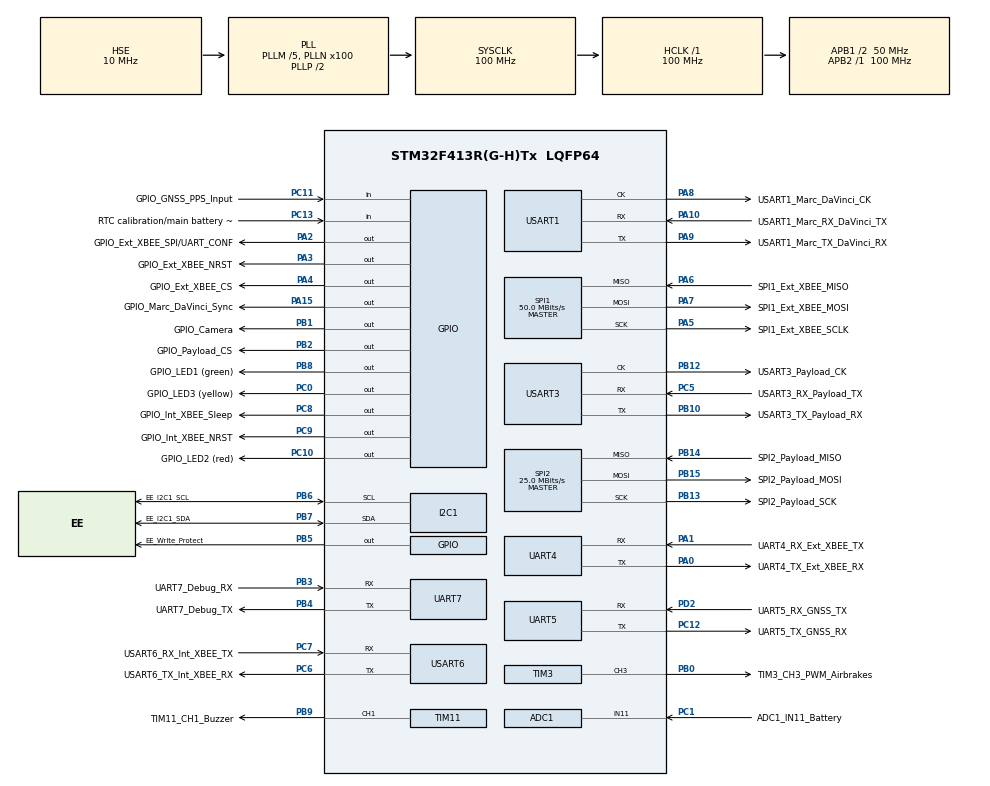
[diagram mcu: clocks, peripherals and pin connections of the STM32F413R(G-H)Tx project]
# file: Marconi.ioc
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ADC1.Channel-0\#ChannelRegularConversion=ADC_CHANNEL_11
ADC1.NbrOfConversionFlag=1
ADC1.Rank-0\#ChannelRegularConversion=1
ADC1.SamplingTime-0\#ChannelRegularConversion=ADC_SAMPLETIME_3CYCLES
ADC1.master=1
Dma.Request0=UART4_RX
Dma.Request1=USART6_RX
Dma.UART4_RX.0.Direction=DMA_PERIPH_TO_MEMORY
Dma.UART4_RX.0.FIFOMode=DMA_FIFOMODE_DISABLE
Dma.UART4_RX.0.Instance=DMA1_Stream2
Dma.UART4_RX.0.MemDataAlignment=DMA_MDATAALIGN_BYTE
Dma.UART4_RX.0.MemInc=DMA_MINC_ENABLE
Dma.UART4_RX.0.Mode=DMA_NORMAL
Dma.UART4_RX.0.PeriphDataAlignment=DMA_PDATAALIGN_BYTE
Dma.UART4_RX.0.PeriphInc=DMA_PINC_DISABLE
Dma.UART4_RX.0.Priority=DMA_PRIORITY_LOW
Dma.USART6_RX.1.Direction=DMA_PERIPH_TO_MEMORY
Dma.USART6_RX.1.FIFOMode=DMA_FIFOMODE_DISABLE
Dma.USART6_RX.1.Instance=DMA2_Stream1
Dma.USART6_RX.1.MemDataAlignment=DMA_MDATAALIGN_BYTE
Dma.USART6_RX.1.MemInc=DMA_MINC_ENABLE
Dma.USART6_RX.1.Mode=DMA_NORMAL
Dma.USART6_RX.1.PeriphDataAlignment=DMA_PDATAALIGN_BYTE
Dma.USART6_RX.1.PeriphInc=DMA_PINC_DISABLE
Dma.USART6_RX.1.Priority=DMA_PRIORITY_LOW
FREERTOS.Tasks01=External_Xbee_T,24,128,External_Xbee_TX,Default,NULL,Dynamic,NULL,NULL;Internal_Xbee_T,24,128,Internal_Xbee_TX,Default,NULL,Dynamic,NULL,NULL
FREERTOS.configUSE_NEWLIB_REENTRANT=1
Mcu.Family=STM32F4
Mcu.Name=STM32F413R(G-H)Tx
Mcu.Package=LQFP64
NVIC.DMA1_Stream2_IRQn=true\:5\:0\:false\:false\:true\:true\:false\:true\:true
NVIC.DMA2_Stream1_IRQn=true\:5\:0\:false\:false\:true\:true\:false\:true\:true
NVIC.PriorityGroup=NVIC_PRIORITYGROUP_4
NVIC.TIM1_UP_TIM10_IRQn=true\:15\:0\:false\:false\:true\:false\:false\:true\:true
NVIC.TimeBase=TIM1_UP_TIM10_IRQn
NVIC.TimeBaseIP=TIM1
PA0.GPIO_Label=UART4_TX_Ext_XBEE_RX
PA0.Mode=Asynchronous
PA0.Signal=UART4_TX
PA1.GPIO_Label=UART4_RX_Ext_XBEE_TX
PA1.Mode=Asynchronous
PA1.Signal=UART4_RX
PA10.GPIO_Label=USART1_Marc_RX_DaVinci_TX
PA10.Mode=Synchronous
PA10.Signal=USART1_RX
PA13.Mode=Serial_Wire
PA13.Signal=SYS_JTMS-SWDIO
PA14.Mode=Serial_Wire
PA14.Signal=SYS_JTCK-SWCLK
PA15.GPIO_Label=GPIO_Marc_DaVinci_Sync
PA15.Signal=GPIO_Output
PA2.GPIO_Label=GPIO_Ext_XBEE_SPI/UART_CONF
PA2.Signal=GPIO_Output
PA3.GPIO_Label=GPIO_Ext_XBEE_NRST
PA3.Signal=GPIO_Output
PA4.GPIO_Label=GPIO_Ext_XBEE_CS
PA4.Signal=GPIO_Output
PA5.GPIO_Label=SPI1_Ext_XBEE_SCLK
PA5.Mode=Full_Duplex_Master
PA5.Signal=SPI1_SCK
PA6.GPIO_Label=SPI1_Ext_XBEE_MISO
PA6.Mode=Full_Duplex_Master
PA6.Signal=SPI1_MISO
PA7.GPIO_Label=SPI1_Ext_XBEE_MOSI
PA7.Mode=Full_Duplex_Master
PA7.Signal=SPI1_MOSI
PA8.GPIO_Label=USART1_Marc_DaVinci_CK
PA8.Mode=Synchronous
PA8.Signal=USART1_CK
PA9.GPIO_Label=USART1_Marc_TX_DaVinci_RX
PA9.Mode=Synchronous
PA9.Signal=USART1_TX
PB0.GPIO_Label=TIM3_CH3_PWM_Airbrakes
PB0.Signal=S_TIM3_CH3
PB1.GPIO_Label=GPIO_Camera
PB1.Signal=GPIO_Output
PB10.GPIO_Label=USART3_TX_Payload_RX
PB10.Mode=Synchronous
PB10.Signal=USART3_TX
PB12.GPIO_Label=USART3_Payload_CK
PB12.Mode=Synchronous
PB12.Signal=USART3_CK
PB13.GPIO_Label=SPI2_Payload_SCK
PB13.Mode=Full_Duplex_Master
PB13.Signal=SPI2_SCK
PB14.GPIO_Label=SPI2_Payload_MISO
PB14.Mode=Full_Duplex_Master
PB14.Signal=SPI2_MISO
PB15.GPIO_Label=SPI2_Payload_MOSI
PB15.Mode=Full_Duplex_Master
PB15.Signal=SPI2_MOSI
PB2.GPIO_Label=GPIO_Payload_CS
PB2.Signal=GPIO_Output
PB3.GPIO_Label=UART7_Debug_RX
PB3.Mode=Asynchronous
PB3.Signal=UART7_RX
PB4.GPIO_Label=UART7_Debug_TX
PB4.Mode=Asynchronous
PB4.Signal=UART7_TX
PB5.GPIO_Label=EE_Write_Protect
PB5.Signal=GPIO_Output
PB6.GPIO_Label=EE_I2C1_SCL
PB6.Mode=I2C
PB6.Signal=I2C1_SCL
PB7.GPIO_Label=EE_I2C1_SDA
PB7.Mode=I2C
PB7.Signal=I2C1_SDA
PB8.GPIO_Label=GPIO_LED1 (green)
PB8.Signal=GPIO_Output
PB9.GPIO_Label=TIM11_CH1_Buzzer
PB9.Signal=S_TIM11_CH1
PC0.GPIO_Label=GPIO_LED3 (yellow)
PC0.Signal=GPIO_Output
PC1.GPIO_Label=ADC1_IN11_Battery
PC1.Signal=ADCx_IN11
PC10.GPIO_Label=GPIO_LED2 (red)
PC10.Signal=GPIO_Output
PC11.GPIO_Label=GPIO_GNSS_PPS_Input
PC11.Signal=GPIO_Input
PC12.GPIO_Label=UART5_TX_GNSS_RX
PC12.Mode=Asynchronous
PC12.Signal=UART5_TX
PC13.GPIO_Label=RTC calibration/main battery removal detect
PC13.Signal=GPIO_Input
PC14-OSC32_IN.Mode=LSE-External-Oscillator
PC14-OSC32_IN.Signal=RCC_OSC32_IN
PC15-OSC32_OUT.Mode=LSE-External-Oscillator
PC15-OSC32_OUT.Signal=RCC_OSC32_OUT
PC5.GPIO_Label=USART3_RX_Payload_TX
PC5.Mode=Synchronous
PC5.Signal=USART3_RX
PC6.GPIO_Label=USART6_TX_Int_XBEE_RX
PC6.Mode=Asynchronous
PC6.Signal=USART6_TX
PC7.GPIO_Label=USART6_RX_Int_XBEE_TX
PC7.Mode=Asynchronous
PC7.Signal=USART6_RX
PC8.GPIO_Label=GPIO_Int_XBEE_Sleep
PC8.Signal=GPIO_Output
PC9.GPIO_Label=GPIO_Int_XBEE_NRST
PC9.Signal=GPIO_Output
PD2.GPIO_Label=UART5_RX_GNSS_TX
PD2.Mode=Asynchronous
PD2.Signal=UART5_RX
PH0\ -\ OSC_IN.Mode=HSE-External-Oscillator
PH0\ -\ OSC_IN.Signal=RCC_OSC_IN
PH1\ -\ OSC_OUT.Mode=HSE-External-Oscillator
PH1\ -\ OSC_OUT.Signal=RCC_OSC_OUT
ProjectManager.HeapSize=0x200
ProjectManager.StackSize=0x400
ProjectManager.TargetToolchain=STM32CubeIDE
RCC.AHBFreq_Value=100000000
RCC.APB1CLKDivider=RCC_HCLK_DIV2
RCC.APB1Freq_Value=50000000
RCC.APB1TimFreq_Value=100000000
RCC.APB2Freq_Value=100000000
RCC.APB2TimFreq_Value=100000000
RCC.CortexFreq_Value=100000000
RCC.HCLKFreq_Value=100000000
RCC.HSE_VALUE=10000000
RCC.PLLM=5
RCC.PLLN=100
RCC.PLLSourceVirtual=RCC_PLLSOURCE_HSE
RCC.SYSCLKFreq_VALUE=100000000
RCC.SYSCLKSource=RCC_SYSCLKSOURCE_PLLCLK
RCC.USBFreq_Value=100000000
RCC.VCOOutputFreq_Value=200000000
SH.ADCx_IN11.0=ADC1_IN11,IN11
SH.S_TIM11_CH1.0=TIM11_CH1,PWM Generation1 CH1
SH.S_TIM3_CH3.0=TIM3_CH3,PWM Generation3 CH3
SPI1.CalculateBaudRate=50.0 MBits/s
SPI1.Direction=SPI_DIRECTION_2LINES
SPI1.Mode=SPI_MODE_MASTER
SPI1.VirtualType=VM_MASTER
SPI2.CalculateBaudRate=25.0 MBits/s
SPI2.Direction=SPI_DIRECTION_2LINES
SPI2.Mode=SPI_MODE_MASTER
SPI2.VirtualType=VM_MASTER
TIM11.Channel=TIM_CHANNEL_1
TIM3.Channel-PWM\ Generation3\ CH3=TIM_CHANNEL_3
UART4.VirtualMode=Asynchronous
UART5.VirtualMode=Asynchronous
UART7.VirtualMode=Asynchronous
USART1.VirtualMode=VM_SYNC
USART3.VirtualMode=VM_SYNC
USART6.VirtualMode=VM_ASYNC
VP_FREERTOS_VS_CMSIS_V2.Mode=CMSIS_V2
VP_SYS_VS_tim1.Mode=TIM1
VP_TIM11_VS_ClockSourceINT.Mode=Enable_Timer
board=custom

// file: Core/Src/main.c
/* USER CODE BEGIN Header */
/**
  ******************************************************************************
  * @file           : main.c
  * @brief          : Main program body
  ******************************************************************************
  * @attention
  *
  * Copyright (c) 2024 STMicroelectronics.
  * All rights reserved.
  *
  * This software is licensed under terms that can be found in the LICENSE file
  * in the root directory of this software component.
  * If no LICENSE file comes with this software, it is provided AS-IS.
  *
  ******************************************************************************
  */
/* USER CODE END Header */
#include "main.h"
#include "cmsis_os.h"

ADC_HandleTypeDef hadc1;

I2C_HandleTypeDef hi2c1;

SPI_HandleTypeDef hspi1;
SPI_HandleTypeDef hspi2;

TIM_HandleTypeDef htim3;
TIM_HandleTypeDef htim11;

UART_HandleTypeDef huart4;
UART_HandleTypeDef huart5;
UART_HandleTypeDef huart7;
USART_HandleTypeDef husart1;
USART_HandleTypeDef husart3;
UART_HandleTypeDef huart6;
DMA_HandleTypeDef hdma_uart4_rx;
DMA_HandleTypeDef hdma_usart6_rx;

/* Definitions for External_Xbee_T */
osThreadId_t External_Xbee_THandle;
const osThreadAttr_t External_Xbee_T_attributes = {
  .name = "External_Xbee_T",
  .stack_size = 128 * 4,
  .priority = (osPriority_t) osPriorityNormal,
};
/* Definitions for Internal_Xbee_T */
osThreadId_t Internal_Xbee_THandle;
const osThreadAttr_t Internal_Xbee_T_attributes = {
  .name = "Internal_Xbee_T",
  .stack_size = 128 * 4,
  .priority = (osPriority_t) osPriorityNormal,
};
/* USER CODE BEGIN PV */
#define DMA_BUFFER_SIZE_EXT 2
#define DMA_BUFFER_SIZE_INT 4
uint8_t dmaBuffer[DMA_BUFFER_SIZE_EXT];
uint8_t dmaBuffer_2[DMA_BUFFER_SIZE_INT];
volatile uint16_t oldPos = 0;
uint8_t message[45];
volatile float airbrakes_deg = 0.0f;
servo_t servo = {0};
/* USER CODE END PV */

void SystemClock_Config(void);
static void MX_GPIO_Init(void);
static void MX_DMA_Init(void);
static void MX_SPI1_Init(void);
static void MX_SPI2_Init(void);
static void MX_UART4_Init(void);
static void MX_USART1_Init(void);
static void MX_USART6_UART_Init(void);
static void MX_ADC1_Init(void);
static void MX_I2C1_Init(void);
static void MX_TIM11_Init(void);
static void MX_UART5_Init(void);
static void MX_UART7_Init(void);
static void MX_USART3_Init(void);
static void MX_TIM3_Init(void);
void External_Xbee_TX(void *argument);
void Internal_Xbee_TX(void *argument);

/* USER CODE BEGIN 0 */
char ACK[2] = "C0";
void XBee_SetChannel(uint8_t channel) {
    // Example implementation to set the XBee channel
    uint8_t atCommand[] = { 'A', 'T', 'C', 'H', channel, '\r' };
    HAL_UART_Transmit(&huart4, atCommand, sizeof(atCommand), 5);
}

void processMessage(uint8_t command, uint8_t data) {
    switch ((char)command) {
        case 'F': // Change XBee channel
            if (data >= 0x0B && data <= 0x1A) { // Valid XBee channel range
                XBee_SetChannel(data);
            }
            break;
        case 'C': // Send ACK
            HAL_UART_Transmit(&huart4, (uint8_t *)ACK, 2, 5);
            break;
        default:
            // Handle unknown command
            break;
    }
}

void HAL_UART_RxCpltCallback(UART_HandleTypeDef *huart) {
    if (huart->Instance == UART4) { // Check if it's the correct UART instance
        // Extract the received command and data
        uint8_t command = dmaBuffer[0];
        uint8_t data = dmaBuffer[1];

        // Process the received message
        processMessage(command, data);

        // Restart DMA reception for the next message
        HAL_UART_Receive_DMA(&huart4, dmaBuffer, DMA_BUFFER_SIZE_EXT);
    }
    else if (huart->Instance == USART6){
    	float receivedValue;

    	// Decode the received float from the DMA buffer
    	memcpy(&receivedValue, dmaBuffer_2, sizeof(receivedValue));

    	// Update the servo position based on the received value
    	servo_moveto_deg(&servo,receivedValue);

    	// Restart DMA reception for the next float
    	HAL_UART_Receive_DMA(&huart6, dmaBuffer_2, DMA_BUFFER_SIZE_INT);
    }
}

/* USER CODE END 0 */

int main(void)
{

  /* MCU Configuration--------------------------------------------------------*/

  /* Reset of all peripherals, Initializes the Flash interface and the Systick. */
  HAL_Init();

  /* Configure the system clock */
  SystemClock_Config();

  /* Initialize all configured peripherals */
  MX_GPIO_Init();
  MX_DMA_Init();
  MX_SPI1_Init();
  MX_SPI2_Init();
  MX_UART4_Init();
  MX_USART1_Init();
  MX_USART6_UART_Init();
  MX_ADC1_Init();
  MX_I2C1_Init();
  MX_TIM11_Init();
  MX_UART5_Init();
  MX_UART7_Init();
  MX_USART3_Init();
  MX_TIM3_Init();
  /* USER CODE BEGIN 2 */
  HAL_UART_Receive_DMA(&huart4, dmaBuffer, DMA_BUFFER_SIZE_EXT);
  HAL_UART_Receive_DMA(&huart6, dmaBuffer_2, DMA_BUFFER_SIZE_INT);
  servo_init(&servo);

  /* USER CODE END 2 */

  /* Init scheduler */
  osKernelInitialize();

  /* Create the thread(s) */
  /* creation of External_Xbee_T */
  External_Xbee_THandle = osThreadNew(External_Xbee_TX, NULL, &External_Xbee_T_attributes);

  /* creation of Internal_Xbee_T */
  Internal_Xbee_THandle = osThreadNew(Internal_Xbee_TX, NULL, &Internal_Xbee_T_attributes);

  /* Start scheduler */
  osKernelStart();

  /* We should never get here as control is now taken by the scheduler */

  /* Infinite loop */
  while (1)
  {

  }
}

void SystemClock_Config(void)
{
  RCC_OscInitTypeDef RCC_OscInitStruct = {0};
  RCC_ClkInitTypeDef RCC_ClkInitStruct = {0};

  /** Configure the main internal regulator output voltage
  */
  __HAL_RCC_PWR_CLK_ENABLE();
  __HAL_PWR_VOLTAGESCALING_CONFIG(PWR_REGULATOR_VOLTAGE_SCALE1);

  /** Initializes the RCC Oscillators according to the specified parameters
  * in the RCC_OscInitTypeDef structure.
  */
  RCC_OscInitStruct.OscillatorType = RCC_OSCILLATORTYPE_HSE;
  RCC_OscInitStruct.HSEState = RCC_HSE_ON;
  RCC_OscInitStruct.PLL.PLLState = RCC_PLL_ON;
  RCC_OscInitStruct.PLL.PLLSource = RCC_PLLSOURCE_HSE;
  RCC_OscInitStruct.PLL.PLLM = 5;
  RCC_OscInitStruct.PLL.PLLN = 100;
  RCC_OscInitStruct.PLL.PLLP = RCC_PLLP_DIV2;
  RCC_OscInitStruct.PLL.PLLQ = 2;
  RCC_OscInitStruct.PLL.PLLR = 2;
  if (HAL_RCC_OscConfig(&RCC_OscInitStruct) != HAL_OK)
  {
    Error_Handler();
  }

  /** Initializes the CPU, AHB and APB buses clocks
  */
  RCC_ClkInitStruct.ClockType = RCC_CLOCKTYPE_HCLK|RCC_CLOCKTYPE_SYSCLK
                              |RCC_CLOCKTYPE_PCLK1|RCC_CLOCKTYPE_PCLK2;
  RCC_ClkInitStruct.SYSCLKSource = RCC_SYSCLKSOURCE_PLLCLK;
  RCC_ClkInitStruct.AHBCLKDivider = RCC_SYSCLK_DIV1;
  RCC_ClkInitStruct.APB1CLKDivider = RCC_HCLK_DIV2;
  RCC_ClkInitStruct.APB2CLKDivider = RCC_HCLK_DIV1;

  if (HAL_RCC_ClockConfig(&RCC_ClkInitStruct, FLASH_LATENCY_3) != HAL_OK)
  {
    Error_Handler();
  }
}

static void MX_ADC1_Init(void)
{

  ADC_ChannelConfTypeDef sConfig = {0};

  /** Configure the global features of the ADC (Clock, Resolution, Data Alignment and number of conversion)
  */
  hadc1.Instance = ADC1;
  hadc1.Init.ClockPrescaler = ADC_CLOCK_SYNC_PCLK_DIV4;
  hadc1.Init.Resolution = ADC_RESOLUTION_12B;
  hadc1.Init.ScanConvMode = DISABLE;
  hadc1.Init.ContinuousConvMode = DISABLE;
  hadc1.Init.DiscontinuousConvMode = DISABLE;
  hadc1.Init.ExternalTrigConvEdge = ADC_EXTERNALTRIGCONVEDGE_NONE;
  hadc1.Init.ExternalTrigConv = ADC_SOFTWARE_START;
  hadc1.Init.DataAlign = ADC_DATAALIGN_RIGHT;
  hadc1.Init.NbrOfConversion = 1;
  hadc1.Init.DMAContinuousRequests = DISABLE;
  hadc1.Init.EOCSelection = ADC_EOC_SINGLE_CONV;
  if (HAL_ADC_Init(&hadc1) != HAL_OK)
  {
    Error_Handler();
  }

  /** Configure for the selected ADC regular channel its corresponding rank in the sequencer and its sample time.
  */
  sConfig.Channel = ADC_CHANNEL_11;
  sConfig.Rank = 1;
  sConfig.SamplingTime = ADC_SAMPLETIME_3CYCLES;
  if (HAL_ADC_ConfigChannel(&hadc1, &sConfig) != HAL_OK)
  {
    Error_Handler();
  }

}

static void MX_I2C1_Init(void)
{

  hi2c1.Instance = I2C1;
  hi2c1.Init.ClockSpeed = 100000;
  hi2c1.Init.DutyCycle = I2C_DUTYCYCLE_2;
  hi2c1.Init.OwnAddress1 = 0;
  hi2c1.Init.AddressingMode = I2C_ADDRESSINGMODE_7BIT;
  hi2c1.Init.DualAddressMode = I2C_DUALADDRESS_DISABLE;
  hi2c1.Init.OwnAddress2 = 0;
  hi2c1.Init.GeneralCallMode = I2C_GENERALCALL_DISABLE;
  hi2c1.Init.NoStretchMode = I2C_NOSTRETCH_DISABLE;
  if (HAL_I2C_Init(&hi2c1) != HAL_OK)
  {
    Error_Handler();
  }

}

static void MX_SPI1_Init(void)
{

  /* SPI1 parameter configuration*/
  hspi1.Instance = SPI1;
  hspi1.Init.Mode = SPI_MODE_MASTER;
  hspi1.Init.Direction = SPI_DIRECTION_2LINES;
  hspi1.Init.DataSize = SPI_DATASIZE_8BIT;
  hspi1.Init.CLKPolarity = SPI_POLARITY_LOW;
  hspi1.Init.CLKPhase = SPI_PHASE_1EDGE;
  hspi1.Init.NSS = SPI_NSS_SOFT;
  hspi1.Init.BaudRatePrescaler = SPI_BAUDRATEPRESCALER_2;
  hspi1.Init.FirstBit = SPI_FIRSTBIT_MSB;
  hspi1.Init.TIMode = SPI_TIMODE_DISABLE;
  hspi1.Init.CRCCalculation = SPI_CRCCALCULATION_DISABLE;
  hspi1.Init.CRCPolynomial = 10;
  if (HAL_SPI_Init(&hspi1) != HAL_OK)
  {
    Error_Handler();
  }

}

static void MX_SPI2_Init(void)
{

  /* SPI2 parameter configuration*/
  hspi2.Instance = SPI2;
  hspi2.Init.Mode = SPI_MODE_MASTER;
  hspi2.Init.Direction = SPI_DIRECTION_2LINES;
  hspi2.Init.DataSize = SPI_DATASIZE_8BIT;
  hspi2.Init.CLKPolarity = SPI_POLARITY_LOW;
  hspi2.Init.CLKPhase = SPI_PHASE_1EDGE;
  hspi2.Init.NSS = SPI_NSS_SOFT;
  hspi2.Init.BaudRatePrescaler = SPI_BAUDRATEPRESCALER_2;
  hspi2.Init.FirstBit = SPI_FIRSTBIT_MSB;
  hspi2.Init.TIMode = SPI_TIMODE_DISABLE;
  hspi2.Init.CRCCalculation = SPI_CRCCALCULATION_DISABLE;
  hspi2.Init.CRCPolynomial = 10;
  if (HAL_SPI_Init(&hspi2) != HAL_OK)
  {
    Error_Handler();
  }

}

static void MX_TIM3_Init(void)
{

  TIM_MasterConfigTypeDef sMasterConfig = {0};
  TIM_OC_InitTypeDef sConfigOC = {0};

  htim3.Instance = TIM3;
  htim3.Init.Prescaler = 0;
  htim3.Init.CounterMode = TIM_COUNTERMODE_UP;
  htim3.Init.Period = 65535;
  htim3.Init.ClockDivision = TIM_CLOCKDIVISION_DIV1;
  htim3.Init.AutoReloadPreload = TIM_AUTORELOAD_PRELOAD_DISABLE;
  if (HAL_TIM_PWM_Init(&htim3) != HAL_OK)
  {
    Error_Handler();
  }
  sMasterConfig.MasterOutputTrigger = TIM_TRGO_RESET;
  sMasterConfig.MasterSlaveMode = TIM_MASTERSLAVEMODE_DISABLE;
  if (HAL_TIMEx_MasterConfigSynchronization(&htim3, &sMasterConfig) != HAL_OK)
  {
    Error_Handler();
  }
  sConfigOC.OCMode = TIM_OCMODE_PWM1;
  sConfigOC.Pulse = 0;
  sConfigOC.OCPolarity = TIM_OCPOLARITY_HIGH;
  sConfigOC.OCFastMode = TIM_OCFAST_DISABLE;
  if (HAL_TIM_PWM_ConfigChannel(&htim3, &sConfigOC, TIM_CHANNEL_3) != HAL_OK)
  {
    Error_Handler();
  }
  HAL_TIM_MspPostInit(&htim3);

}

static void MX_TIM11_Init(void)
{

  TIM_OC_InitTypeDef sConfigOC = {0};

  htim11.Instance = TIM11;
  htim11.Init.Prescaler = 0;
  htim11.Init.CounterMode = TIM_COUNTERMODE_UP;
  htim11.Init.Period = 65535;
  htim11.Init.ClockDivision = TIM_CLOCKDIVISION_DIV1;
  htim11.Init.AutoReloadPreload = TIM_AUTORELOAD_PRELOAD_DISABLE;
  if (HAL_TIM_Base_Init(&htim11) != HAL_OK)
  {
    Error_Handler();
  }
  if (HAL_TIM_PWM_Init(&htim11) != HAL_OK)
  {
    Error_Handler();
  }
  sConfigOC.OCMode = TIM_OCMODE_PWM1;
  sConfigOC.Pulse = 0;
  sConfigOC.OCPolarity = TIM_OCPOLARITY_HIGH;
  sConfigOC.OCFastMode = TIM_OCFAST_DISABLE;
  if (HAL_TIM_PWM_ConfigChannel(&htim11, &sConfigOC, TIM_CHANNEL_1) != HAL_OK)
  {
    Error_Handler();
  }
  HAL_TIM_MspPostInit(&htim11);

}

static void MX_UART4_Init(void)
{

  huart4.Instance = UART4;
  huart4.Init.BaudRate = 115200;
  huart4.Init.WordLength = UART_WORDLENGTH_8B;
  huart4.Init.StopBits = UART_STOPBITS_1;
  huart4.Init.Parity = UART_PARITY_NONE;
  huart4.Init.Mode = UART_MODE_TX_RX;
  huart4.Init.HwFlowCtl = UART_HWCONTROL_NONE;
  huart4.Init.OverSampling = UART_OVERSAMPLING_16;
  if (HAL_UART_Init(&huart4) != HAL_OK)
  {
    Error_Handler();
  }

}

static void MX_UART5_Init(void)
{

  huart5.Instance = UART5;
  huart5.Init.BaudRate = 115200;
  huart5.Init.WordLength = UART_WORDLENGTH_8B;
  huart5.Init.StopBits = UART_STOPBITS_1;
  huart5.Init.Parity = UART_PARITY_NONE;
  huart5.Init.Mode = UART_MODE_TX_RX;
  huart5.Init.HwFlowCtl = UART_HWCONTROL_NONE;
  huart5.Init.OverSampling = UART_OVERSAMPLING_16;
  if (HAL_UART_Init(&huart5) != HAL_OK)
  {
    Error_Handler();
  }

}

static void MX_UART7_Init(void)
{

  huart7.Instance = UART7;
  huart7.Init.BaudRate = 115200;
  huart7.Init.WordLength = UART_WORDLENGTH_8B;
  huart7.Init.StopBits = UART_STOPBITS_1;
  huart7.Init.Parity = UART_PARITY_NONE;
  huart7.Init.Mode = UART_MODE_TX_RX;
  huart7.Init.HwFlowCtl = UART_HWCONTROL_NONE;
  huart7.Init.OverSampling = UART_OVERSAMPLING_16;
  if (HAL_UART_Init(&huart7) != HAL_OK)
  {
    Error_Handler();
  }

}

static void MX_USART1_Init(void)
{

  husart1.Instance = USART1;
  husart1.Init.BaudRate = 115200;
  husart1.Init.WordLength = USART_WORDLENGTH_8B;
  husart1.Init.StopBits = USART_STOPBITS_1;
  husart1.Init.Parity = USART_PARITY_NONE;
  husart1.Init.Mode = USART_MODE_TX_RX;
  husart1.Init.CLKPolarity = USART_POLARITY_LOW;
  husart1.Init.CLKPhase = USART_PHASE_1EDGE;
  husart1.Init.CLKLastBit = USART_LASTBIT_DISABLE;
  if (HAL_USART_Init(&husart1) != HAL_OK)
  {
    Error_Handler();
  }

}

static void MX_USART3_Init(void)
{

  husart3.Instance = USART3;
  husart3.Init.BaudRate = 115200;
  husart3.Init.WordLength = USART_WORDLENGTH_8B;
  husart3.Init.StopBits = USART_STOPBITS_1;
  husart3.Init.Parity = USART_PARITY_NONE;
  husart3.Init.Mode = USART_MODE_TX_RX;
  husart3.Init.CLKPolarity = USART_POLARITY_LOW;
  husart3.Init.CLKPhase = USART_PHASE_1EDGE;
  husart3.Init.CLKLastBit = USART_LASTBIT_DISABLE;
  if (HAL_USART_Init(&husart3) != HAL_OK)
  {
    Error_Handler();
  }

}

static void MX_USART6_UART_Init(void)
{

  huart6.Instance = USART6;
  huart6.Init.BaudRate = 115200;
  huart6.Init.WordLength = UART_WORDLENGTH_8B;
  huart6.Init.StopBits = UART_STOPBITS_1;
  huart6.Init.Parity = UART_PARITY_NONE;
  huart6.Init.Mode = UART_MODE_TX_RX;
  huart6.Init.HwFlowCtl = UART_HWCONTROL_NONE;
  huart6.Init.OverSampling = UART_OVERSAMPLING_16;
  if (HAL_UART_Init(&huart6) != HAL_OK)
  {
    Error_Handler();
  }

}

static void MX_DMA_Init(void)
{

  /* DMA controller clock enable */
  __HAL_RCC_DMA1_CLK_ENABLE();
  __HAL_RCC_DMA2_CLK_ENABLE();

  /* DMA interrupt init */
  /* DMA1_Stream2_IRQn interrupt configuration */
  HAL_NVIC_SetPriority(DMA1_Stream2_IRQn, 5, 0);
  HAL_NVIC_EnableIRQ(DMA1_Stream2_IRQn);
  /* DMA2_Stream1_IRQn interrupt configuration */
  HAL_NVIC_SetPriority(DMA2_Stream1_IRQn, 5, 0);
  HAL_NVIC_EnableIRQ(DMA2_Stream1_IRQn);

}

static void MX_GPIO_Init(void)
{
  GPIO_InitTypeDef GPIO_InitStruct = {0};

  /* GPIO Ports Clock Enable */
  __HAL_RCC_GPIOC_CLK_ENABLE();
  __HAL_RCC_GPIOH_CLK_ENABLE();
  __HAL_RCC_GPIOA_CLK_ENABLE();
  __HAL_RCC_GPIOB_CLK_ENABLE();
  __HAL_RCC_GPIOD_CLK_ENABLE();

  /*Configure GPIO pin Output Level */
  HAL_GPIO_WritePin(GPIOC, GPIO_LED3_Pin|GPIO_Int_XBEE_Sleep_Pin|GPIO_Int_XBEE_NRST_Pin|GPIO_LED2_Pin, GPIO_PIN_RESET);

  /*Configure GPIO pin Output Level */
  HAL_GPIO_WritePin(GPIOA, GPIO_Ext_XBEE_SPI_UART_CONF_Pin|GPIO_Ext_XBEE_NRST_Pin|GPIO_Ext_XBEE_CS_Pin|GPIO_Marc_DaVinci_Sync_Pin, GPIO_PIN_RESET);

  /*Configure GPIO pin Output Level */
  HAL_GPIO_WritePin(GPIOB, GPIO_Camera_Pin|GPIO_Payload_CS_Pin|EE_Write_Protect_Pin|GPIO_LED1_Pin, GPIO_PIN_RESET);

  /*Configure GPIO pins : RTC_calibration_main_battery_removal_detect_Pin GPIO_GNSS_PPS_Input_Pin */
  GPIO_InitStruct.Pin = RTC_calibration_main_battery_removal_detect_Pin|GPIO_GNSS_PPS_Input_Pin;
  GPIO_InitStruct.Mode = GPIO_MODE_INPUT;
  GPIO_InitStruct.Pull = GPIO_NOPULL;
  HAL_GPIO_Init(GPIOC, &GPIO_InitStruct);

  /*Configure GPIO pins : GPIO_LED3_Pin GPIO_Int_XBEE_Sleep_Pin GPIO_Int_XBEE_NRST_Pin GPIO_LED2_Pin */
  GPIO_InitStruct.Pin = GPIO_LED3_Pin|GPIO_Int_XBEE_Sleep_Pin|GPIO_Int_XBEE_NRST_Pin|GPIO_LED2_Pin;
  GPIO_InitStruct.Mode = GPIO_MODE_OUTPUT_PP;
  GPIO_InitStruct.Pull = GPIO_NOPULL;
  GPIO_InitStruct.Speed = GPIO_SPEED_FREQ_LOW;
  HAL_GPIO_Init(GPIOC, &GPIO_InitStruct);

  /*Configure GPIO pins : GPIO_Ext_XBEE_SPI_UART_CONF_Pin GPIO_Ext_XBEE_NRST_Pin GPIO_Ext_XBEE_CS_Pin GPIO_Marc_DaVinci_Sync_Pin */
  GPIO_InitStruct.Pin = GPIO_Ext_XBEE_SPI_UART_CONF_Pin|GPIO_Ext_XBEE_NRST_Pin|GPIO_Ext_XBEE_CS_Pin|GPIO_Marc_DaVinci_Sync_Pin;
  GPIO_InitStruct.Mode = GPIO_MODE_OUTPUT_PP;
  GPIO_InitStruct.Pull = GPIO_NOPULL;
  GPIO_InitStruct.Speed = GPIO_SPEED_FREQ_LOW;
  HAL_GPIO_Init(GPIOA, &GPIO_InitStruct);

  /*Configure GPIO pins : GPIO_Camera_Pin GPIO_Payload_CS_Pin EE_Write_Protect_Pin GPIO_LED1_Pin */
  GPIO_InitStruct.Pin = GPIO_Camera_Pin|GPIO_Payload_CS_Pin|EE_Write_Protect_Pin|GPIO_LED1_Pin;
  GPIO_InitStruct.Mode = GPIO_MODE_OUTPUT_PP;
  GPIO_InitStruct.Pull = GPIO_NOPULL;
  GPIO_InitStruct.Speed = GPIO_SPEED_FREQ_LOW;
  HAL_GPIO_Init(GPIOB, &GPIO_InitStruct);

}

void External_Xbee_TX(void *argument)
{
  /* USER CODE BEGIN 5 */

  UBaseType_t uxHighWaterMark = uxTaskGetStackHighWaterMark( NULL );
  uint32_t tick;
  tick = osKernelGetTickCount();

  /* Infinite loop */
  for(;;)
  {
	  HAL_UART_Transmit(&huart4, (uint8_t *)message, sizeof(message), HAL_MAX_DELAY);

	  tick += EXTERNAL_XBEE_TX_TASK_PERIOD;
	  uxHighWaterMark = uxTaskGetStackHighWaterMark( NULL );
	  if (uxHighWaterMark)
	  		{
	  			__asm("nop");
	  		}
	  osDelayUntil(tick);

  }
  /* USER CODE END 5 */
}

void Internal_Xbee_TX(void *argument)
{
  /* USER CODE BEGIN Internal_Xbee_TX */
	uint8_t data[4];
	UBaseType_t uxHighWaterMark = uxTaskGetStackHighWaterMark( NULL );
	uint32_t tick;
	tick = osKernelGetTickCount();
  /* Infinite loop */
  for(;;)
  {

     memcpy(data, &airbrakes_deg, sizeof(airbrakes_deg));
     HAL_UART_Transmit(&huart6, data, sizeof(data), 5);

     tick += INTERNAL_XBEE_TX_TASK_PERIOD;
     uxHighWaterMark = uxTaskGetStackHighWaterMark( NULL );
     if (uxHighWaterMark)
     	  {
     	  	__asm("nop");
     	  }
     osDelayUntil(tick);

  }
  /* USER CODE END Internal_Xbee_TX */
}

void HAL_TIM_PeriodElapsedCallback(TIM_HandleTypeDef *htim)
{
  if (htim->Instance == TIM1) {
    HAL_IncTick();
  }
}

void Error_Handler(void)
{
  __disable_irq();
  while (1)
  {
  }
}
